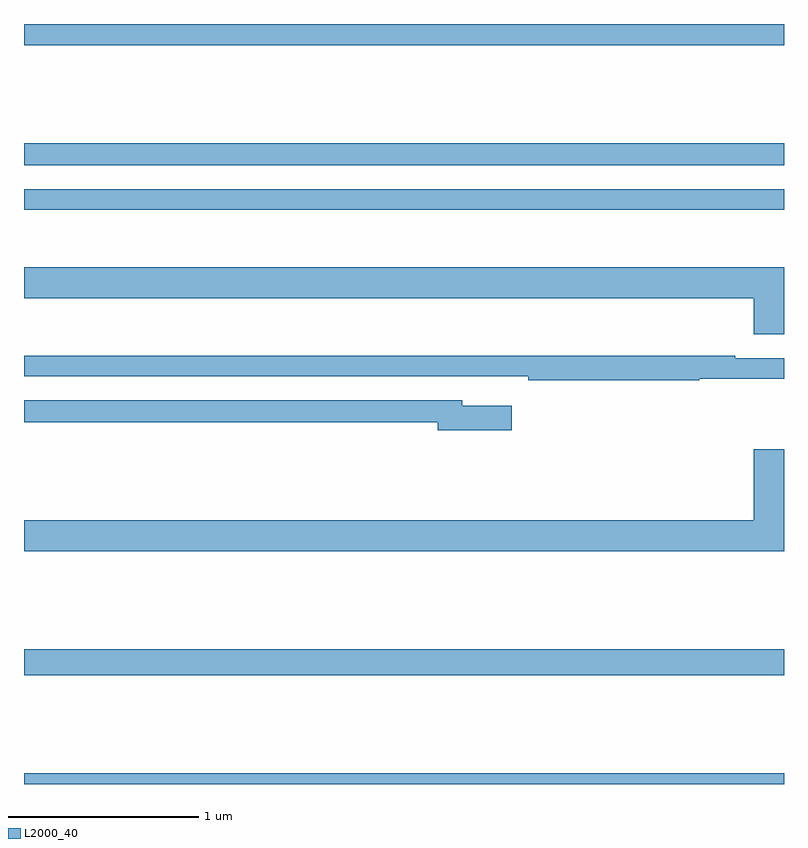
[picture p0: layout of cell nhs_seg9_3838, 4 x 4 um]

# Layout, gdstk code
import gdstk
lib = gdstk.Library(unit=1e-6, precision=1e-09)
def R(c, l, rs):  # rectangles x0, y0, x1, y1
    for r in rs: c.add(gdstk.rectangle(r[:2], r[2:], *l))
def P(c, l, *ps):  # polygons
    for p in ps: c.add(gdstk.Polygon(p, *l))
L2000_40 = (2000, 40)

nhs_seg9_3838 = lib.new_cell('nhs_seg9_3838')
R(nhs_seg9_3838, L2000_40, [(329,1224.5,333,1224.556), (329,1225.072,333,1225.208), (329,1227.522,333,1227.63), (329,1227.756,333,1227.872), (329,1228.388,333,1228.5)])
P(nhs_seg9_3838, L2000_40, [(333,1227.22),(329,1227.22),(329,1227.056),(332.84,1227.056),(332.84,1226.868),(333,1226.868)],
  [(332.554,1226.634),(333,1226.634),(333,1226.742),(332.744,1226.742),(332.744,1226.755),(329,1226.755),(329,1226.646),(331.402,1226.646),(331.402,1226.645),(331.654,1226.645),(331.654,1226.626),(332.554,1226.626)],
  [(331.567,1226.491),(331.306,1226.491),(331.306,1226.52),(329,1226.52),(329,1226.404),(331.178,1226.404),(331.178,1226.362),(331.567,1226.362)],
  [(333,1226.263),(332.84,1226.263),(332.84,1225.888),(329,1225.888),(329,1225.724),(333,1225.724)])

lib.write_gds('nhs_seg9_3838.gds')
